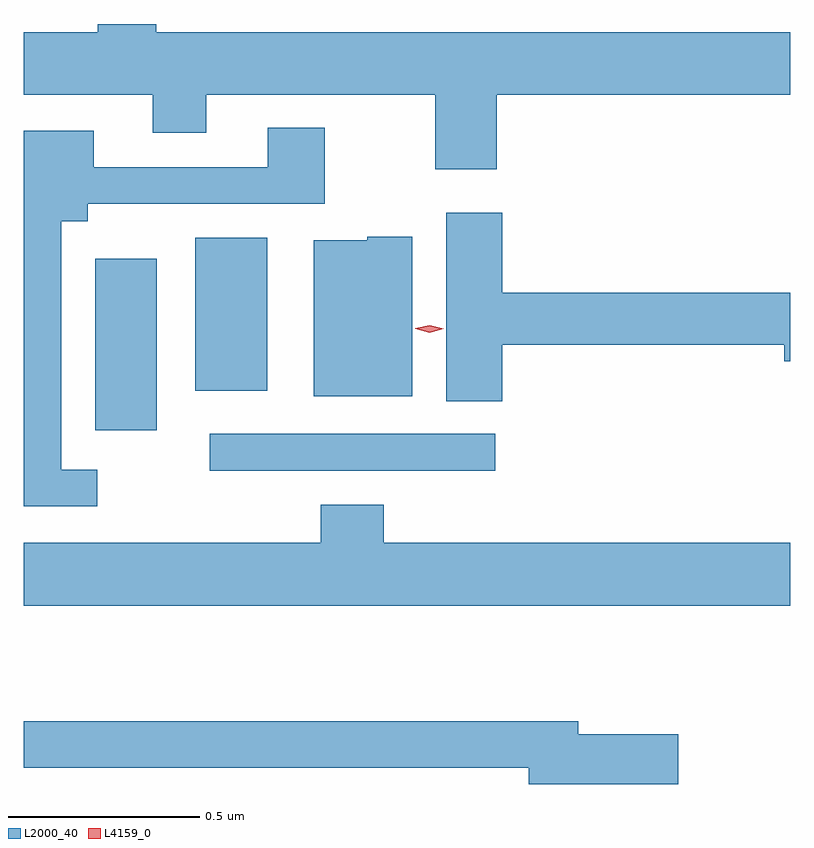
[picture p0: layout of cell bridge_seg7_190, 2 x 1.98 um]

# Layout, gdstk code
import gdstk
lib = gdstk.Library(unit=1e-6, precision=1e-09)
def R(c, l, rs):  # rectangles x0, y0, x1, y1
    for r in rs: c.add(gdstk.rectangle(r[:2], r[2:], *l))
def P(c, l, *ps):  # polygons
    for p in ps: c.add(gdstk.Polygon(p, *l))
L2000_40 = (2000, 40)
L4159_0 = (4159, 0)

bridge_seg7_190 = lib.new_cell('bridge_seg7_190')
R(bridge_seg7_190, L2000_40, [(390.063,1016.952,390.808,1017.048), (389.765,1017.057,389.926,1017.505), (390.026,1017.161,390.214,1017.559)])
P(bridge_seg7_190, L2000_40, [(389.771,1018.096),(389.578,1018.096),(389.578,1017.932),(389.915,1017.932),(389.915,1017.833),(390.055,1017.833),(390.055,1017.932),(390.652,1017.932),(390.652,1017.738),(390.812,1017.738),(390.812,1017.932),(391.578,1017.932),(391.578,1018.096),(389.924,1018.096),(389.924,1018.117),(389.771,1018.117)],
  [(389.77,1016.955),(389.676,1016.955),(389.676,1017.602),(389.746,1017.602),(389.746,1017.648),(390.363,1017.648),(390.363,1017.847),(390.215,1017.847),(390.215,1017.744),(389.761,1017.744),(389.761,1017.838),(389.579,1017.838),(389.579,1017.742),(389.578,1017.742),(389.578,1016.859),(389.77,1016.859)],
  [(390.827,1017.28),(391.562,1017.28),(391.562,1017.238),(391.578,1017.238),(391.578,1017.416),(390.827,1017.416),(390.827,1017.625),(390.68,1017.625),(390.68,1017.133),(390.827,1017.133)],
  [(390.592,1017.562),(390.474,1017.562),(390.474,1017.553),(390.335,1017.553),(390.335,1017.146),(390.592,1017.146)],
  [(391.578,1016.764),(390.518,1016.764),(390.518,1016.863),(390.353,1016.863),(390.353,1016.764),(389.578,1016.764),(389.578,1016.6),(391.578,1016.6)],
  [(391.285,1016.265),(391.024,1016.265),(391.024,1016.299),(389.578,1016.299),(389.578,1016.178),(390.896,1016.178),(390.896,1016.135),(391.285,1016.135)])
P(bridge_seg7_190, L4159_0, [(390.637,1017.312),(390.599,1017.322),(390.599,1017.322),(390.599,1017.323),(390.637,1017.332),(390.674,1017.322),(390.674,1017.322),(390.674,1017.322)])

lib.write_gds('bridge_seg7_190.gds')
